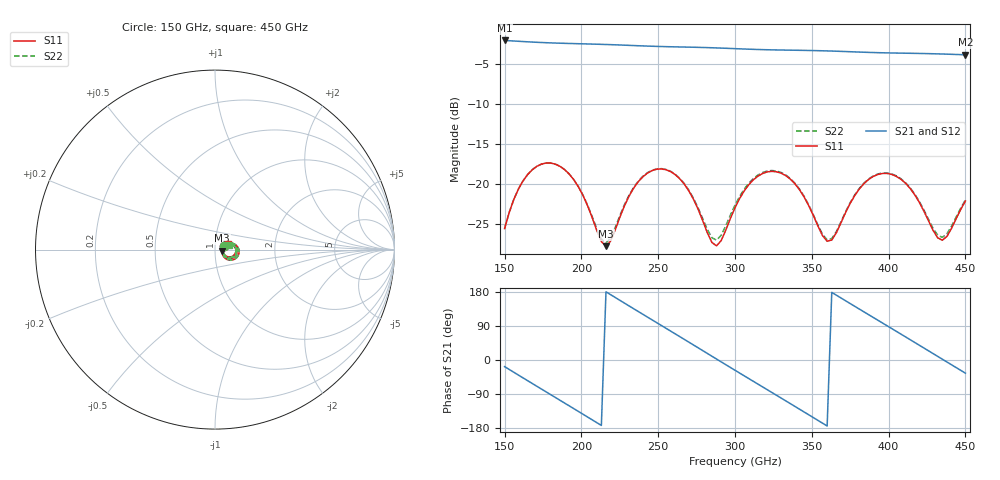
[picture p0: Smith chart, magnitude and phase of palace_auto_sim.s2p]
#  GHZ S DB R 50
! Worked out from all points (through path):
!   101 points, 150 GHz to 450 GHz, reference 50 ohm
!   highest |S21| = -2.09 dB at 150 GHz (marker M1); lowest = -3.9 dB at 450 GHz (marker M2)
!   group delay of S21, straight-line fit = 6.83 ps
!   lowest |S11| = -27.8 dB at 216 GHz (marker M3), VSWR 1.09, Z = 54.2 - j0.643 ohm
!   |S11| at or under -10 dB: start of sweep to end of sweep
!   |S22| runs from -27.4 to -17.4 dB; largest |S21 - S12| = 1.2e-13
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150  -25.56 24.0  -2.09 -17.5  -2.09 -17.5  -25.54 23.9
162  -19.61 19.5  -2.22 -47.2  -2.22 -47.2  -19.61 19.7
177  -17.38 -5.2  -2.37 -84.1  -2.37 -84.1  -17.38 -4.9
189  -18.20 -25.5  -2.44 -113.5  -2.44 -113.5  -18.19 -24.8
201  -21.42 -39.7  -2.51 -143.0  -2.51 -143.0  -21.37 -38.6
216  -27.76 -8.3  -2.59 179.9  -2.59 179.9  -27.36 -7.9
237  -19.72 15.2  -2.74 128.0  -2.74 128.0  -19.65 14.6
252  -18.12 -7.9  -2.84 91.2  -2.84 91.2  -18.08 -8.0
264  -19.34 -26.6  -2.90 61.8  -2.90 61.8  -19.28 -26.2
279  -24.59 -34.7  -2.96 24.7  -2.96 24.7  -24.32 -32.8
288  -27.72 -4.5  -3.02 2.5  -3.02 2.5  -27.01 -4.4
300  -22.97 23.7  -3.11 -27.1  -3.11 -27.1  -22.63 21.0
324  -18.42 -4.3  -3.26 -85.7  -3.26 -85.7  -18.32 -6.2
336  -19.39 -22.1  -3.30 -115.1  -3.30 -115.1  -19.31 -23.7
351  -23.93 -31.5  -3.35 -152.0  -3.35 -152.0  -23.83 -32.7
360  -27.14 -8.9  -3.39 -174.2  -3.39 -174.2  -26.96 -10.3
372  -23.57 22.4  -3.47 156.3  -3.47 156.3  -23.46 20.5
387  -19.43 11.5  -3.57 119.6  -3.57 119.6  -19.37 9.7
402  -18.80 -10.2  -3.65 83.1  -3.65 83.1  -18.74 -11.9
420  -22.29 -29.8  -3.71 39.0  -3.71 39.0  -22.17 -31.1
435  -27.02 -2.0  -3.78 2.1  -3.78 2.1  -26.66 -4.4
450  -22.12 22.4  -3.88 -34.7  -3.88 -34.7  -21.99 18.7
